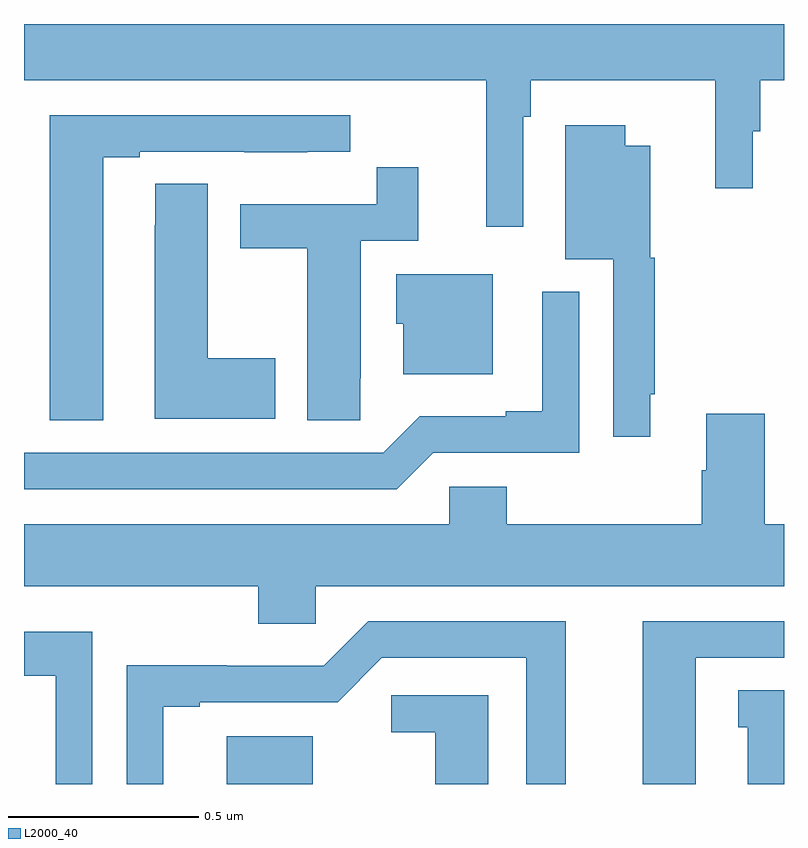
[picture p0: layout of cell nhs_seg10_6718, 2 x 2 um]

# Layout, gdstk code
import gdstk
lib = gdstk.Library(unit=1e-6, precision=1e-09)
def R(c, l, rs):  # rectangles x0, y0, x1, y1
    for r in rs: c.add(gdstk.rectangle(r[:2], r[2:], *l))
def P(c, l, *ps):  # polygons
    for p in ps: c.add(gdstk.Polygon(p, *l))
L2000_40 = (2000, 40)

nhs_seg10_6718 = lib.new_cell('nhs_seg10_6718')
R(nhs_seg10_6718, L2000_40, [(195.533,1262.5,195.76,1262.626)])
P(nhs_seg10_6718, L2000_40, [(196.314,1264.256),(196.334,1264.256),(196.334,1264.352),(196.819,1264.352),(196.819,1264.068),(196.918,1264.068),(196.918,1264.218),(196.937,1264.218),(196.937,1264.352),(197,1264.352),(197,1264.5),(195,1264.5),(195,1264.352),(196.217,1264.352),(196.217,1263.966),(196.314,1263.966)],
  [(195.208,1264.149),(195.304,1264.149),(195.304,1264.164),(195.58,1264.164),(195.58,1264.163),(195.746,1264.163),(195.746,1264.164),(195.859,1264.164),(195.859,1264.26),(195.068,1264.26),(195.068,1263.457),(195.208,1263.457)],
  [(196.648,1263.526),(196.66,1263.526),(196.66,1263.885),(196.648,1263.885),(196.648,1264.18),(196.582,1264.18),(196.582,1264.234),(196.424,1264.234),(196.424,1263.881),(196.551,1263.881),(196.551,1263.414),(196.648,1263.414)],
  [(195.885,1263.568),(195.886,1263.568),(195.886,1263.93),(196.037,1263.93),(196.037,1264.123),(195.928,1264.123),(195.928,1264.026),(195.569,1264.026),(195.569,1263.91),(195.746,1263.91),(195.746,1263.457),(195.885,1263.457)],
  [(195.661,1263.621),(195.484,1263.621),(195.484,1264.079),(195.345,1264.079),(195.345,1263.971),(195.344,1263.971),(195.344,1263.461),(195.661,1263.461)],
  [(196.234,1263.841),(195.98,1263.841),(195.98,1263.711),(195.998,1263.711),(195.998,1263.578),(196.234,1263.578)],
  [(196.077,1263.372),(196.461,1263.372),(196.461,1263.796),(196.364,1263.796),(196.364,1263.481),(196.268,1263.481),(196.268,1263.468),(196.041,1263.468),(195.945,1263.372),(195,1263.372),(195,1263.276),(195.981,1263.276)],
  [(195.768,1263.02),(197,1263.02),(197,1263.184),(196.949,1263.184),(196.949,1263.475),(196.796,1263.475),(196.796,1263.326),(196.784,1263.326),(196.784,1263.184),(196.271,1263.184),(196.271,1263.282),(196.119,1263.282),(196.119,1263.184),(195,1263.184),(195,1263.02),(195.617,1263.02),(195.617,1262.922),(195.768,1262.922)],
  [(195.367,1262.703),(195.463,1262.703),(195.463,1262.715),(195.825,1262.715),(195.942,1262.832),(196.322,1262.832),(196.322,1262.5),(196.426,1262.5),(196.426,1262.928),(195.906,1262.928),(195.789,1262.811),(195.533,1262.811),(195.533,1262.813),(195.27,1262.813),(195.27,1262.5),(195.367,1262.5)],
  [(196.768,1262.832),(197,1262.832),(197,1262.928),(196.628,1262.928),(196.628,1262.5),(196.768,1262.5)],
  [(195.18,1262.901),(195,1262.901),(195,1262.785),(195.083,1262.785),(195.083,1262.5),(195.18,1262.5)],
  [(197,1262.747),(196.88,1262.747),(196.88,1262.649),(196.904,1262.649),(196.904,1262.5),(197,1262.5)],
  [(196.222,1262.733),(195.966,1262.733),(195.966,1262.636),(196.082,1262.636),(196.082,1262.5),(196.222,1262.5)])

lib.write_gds('nhs_seg10_6718.gds')
